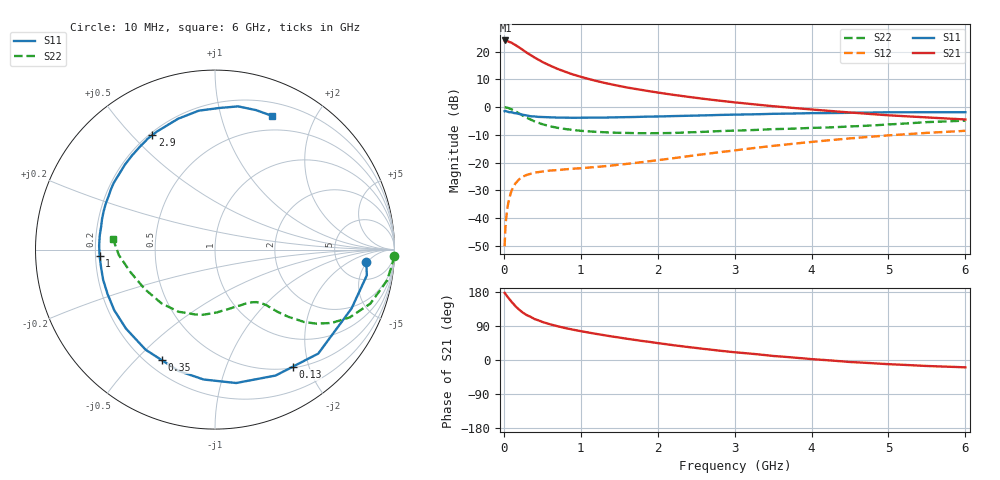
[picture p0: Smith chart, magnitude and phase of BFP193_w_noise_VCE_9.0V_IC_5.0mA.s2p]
! (c) 2017  Infineon Technologies AG, Munich
! Infineon Technologies  Discrete & RF Semiconductors
! BFP193
! VCE =  9.0 V,  IC =  5.0 mA
! Common Emitter S-Parameters:  Jan 2017
# GHz  S  MA  R  50
!  f  S11  S21  S12  S22
! GHz  MAG  ANG  MAG  ANG  MAG  ANG  MAG  ANG
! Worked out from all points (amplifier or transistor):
!   77 points, 10 MHz to 6 GHz, reference 50 ohm
!   highest |S21| = 24.1 dB at 20 MHz (marker M1)
!   |S21| within 3 dB of that: start of sweep to 224.5 MHz
!   unconditionally stable (mu >= 1): 1.401 GHz to 2.633 GHz
!   at 130 MHz: K = 0.13, MSG = 25.6 dB, |S12| = -28.5 dB
!   at 2.2 GHz: K = 1.06, MAG = 10.0 dB, |S12| = -18.5 dB
!   at 6 GHz: K = 0.84, MSG = 2.0 dB, |S12| = -8.5 dB
!   lowest NFmin = 0.92 dB at 450 MHz
!   S11 on the Smith chart (normalised r, x): 10 MHz: 10, -5; 130 MHz: 0.52, -1.74; 350 MHz: 0.26, -0.60; 1 GHz: 0.22, -0.03; 2.9 GHz: 0.21, +0.57; 6 GHz: 0.34, +1.45
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0.01  0.8458 -4.8  15.81 177.2  0.0031 88.1  1 -2.0
0.02  0.858 -9.6  15.95 174.5  0.0066 88.2  0.9926 -4.2
0.05  0.8285 -23.3  15.5 166.2  0.0163 79.3  0.9738 -10.2
0.1  0.8165 -45.2  14.55 153.5  0.0311 68.5  0.9163 -19.2
0.13  0.7832 -56.5  13.68 146.9  0.0375 61.9  0.869 -23.5
0.15  0.7787 -64.3  13.2 142.1  0.0419 58.7  0.8405 -26.7
0.2  0.7526 -81.0  11.91 132.7  0.05 51.9  0.7673 -32.2
0.25  0.7265 -95.0  10.68 124.5  0.0561 46.6  0.6983 -36.2
0.3  0.7059 -106.7  9.558 118.3  0.0599 42.5  0.6395 -39.1
0.35  0.6838 -115.5  8.662 113.7  0.0628 39.8  0.5955 -40.7
0.4  0.6787 -124.7  7.835 108.1  0.0659 37.3  0.5521 -42.6
0.5  0.6631 -138.4  6.548 100.5  0.0688 34.7  0.4926 -44.8
0.6  0.6551 -149.0  5.618 94.3  0.0717 32.9  0.4513 -46.2
1  0.6439 -176.9  3.528 76.1  0.0789 34.2  0.3739 -51.5
1.1  0.6459 178.0  3.227 72.5  0.0811 35.6  0.3658 -53.2
1.5  0.6562 161.0  2.407 59.3  0.0916 40.4  0.3437 -62.0
2.1  0.6827 140.0  1.75 42.0  0.1149 46.3  0.34 -79.1
2.9  0.7271 118.7  1.264 22.6  0.1594 47.9  0.3728 -103.5
3.1  0.7358 114.1  1.181 18.7  0.1723 47.1  0.3802 -109.3
4.1  0.7801 94.9  0.884 0.9  0.2428 40.2  0.4252 -138.2
5.1  0.8076 79.4  0.7 -11.9  0.3159 29.0  0.4954 -167.5
6  0.8099 67.1  0.598 -19.4  0.3739 17.7  0.5718 173.9
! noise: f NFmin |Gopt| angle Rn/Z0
0.45  0.92  0.28  104  0.1
0.9  1.03  0.39  150  0.07
1.9  1.97  0.61  -151  0.13
2.4  2.42  0.67  -131  0.35
